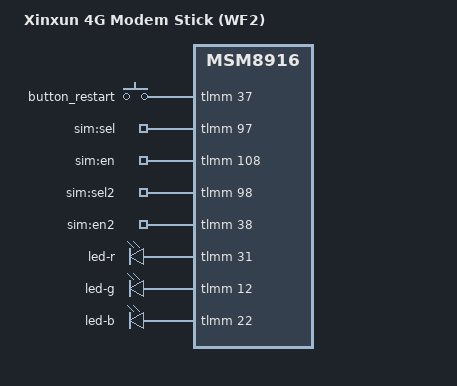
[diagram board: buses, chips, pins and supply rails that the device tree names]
// SPDX-License-Identifier: GPL-2.0-only

/dts-v1/;

#include "msm8916-ufi.dtsi"

/ {
	model = "Xinxun 4G Modem Stick (WF2)";
	compatible = "thwc,wf2", "qcom,msm8916";
};

&button_restart {
	gpios = <&tlmm 37 GPIO_ACTIVE_HIGH>;
};

&button_default {
	pins = "gpio37";
	bias-pull-down;
};

&leds {
	sim-sel {
		label = "sim:sel";
		gpios = <&tlmm 97 GPIO_ACTIVE_HIGH>;
		default-state = "on";
	};

	sim-en {
		label = "sim:en";
		gpios = <&tlmm 108 GPIO_ACTIVE_HIGH>;
		default-state = "off";
	};

	sim-sel2 {
		label = "sim:sel2";
		gpios = <&tlmm 98 GPIO_ACTIVE_HIGH>;
		default-state = "off";
	};

	sim-en2 {
		label = "sim:en2";
		gpios = <&tlmm 38 GPIO_ACTIVE_HIGH>;
		default-state = "off";
	};

	led-r {
		gpios = <&tlmm 31 GPIO_ACTIVE_HIGH>;
	};

	led-g {
		gpios = <&tlmm 12 GPIO_ACTIVE_HIGH>;
	};

	led-b {
		gpios = <&tlmm 22 GPIO_ACTIVE_HIGH>;
	};
};

&gpio_leds_default {
	pins = "gpio12","gpio22","gpio31","gpio38","gpio97","gpio98", "gpio108";
};
